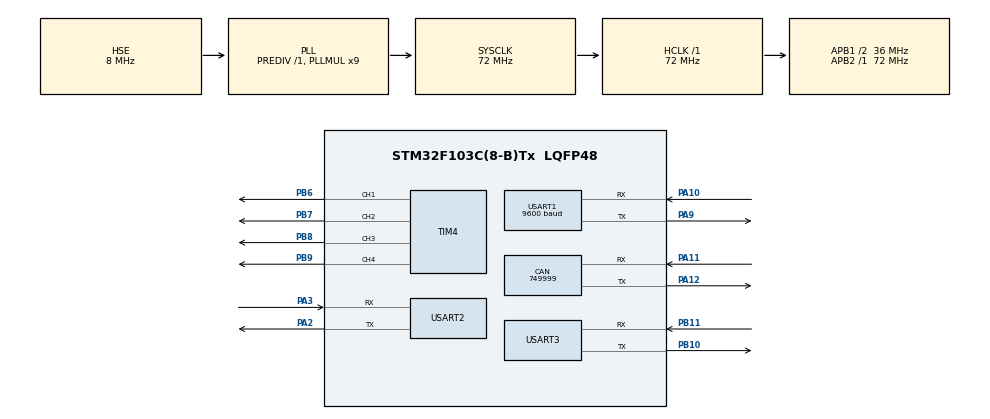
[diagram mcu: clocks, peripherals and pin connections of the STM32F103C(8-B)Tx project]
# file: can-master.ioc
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CAN.CalculateBaudRate=749999
CAN.CalculateTimeBit=1333
CAN.CalculateTimeQuantum=444.44444444444446
Dma.Request0=USART1_RX
Dma.USART1_RX.0.Direction=DMA_PERIPH_TO_MEMORY
Dma.USART1_RX.0.Instance=DMA1_Channel5
Dma.USART1_RX.0.MemDataAlignment=DMA_MDATAALIGN_BYTE
Dma.USART1_RX.0.MemInc=DMA_MINC_ENABLE
Dma.USART1_RX.0.Mode=DMA_CIRCULAR
Dma.USART1_RX.0.PeriphDataAlignment=DMA_PDATAALIGN_BYTE
Dma.USART1_RX.0.PeriphInc=DMA_PINC_DISABLE
Dma.USART1_RX.0.Priority=DMA_PRIORITY_LOW
Mcu.Family=STM32F1
Mcu.Name=STM32F103C(8-B)Tx
Mcu.Package=LQFP48
NVIC.CAN1_RX1_IRQn=true\:0\:0\:false\:false\:true\:true\:true\:true
NVIC.DMA1_Channel5_IRQn=true\:0\:0\:false\:false\:true\:false\:true\:true
NVIC.PriorityGroup=NVIC_PRIORITYGROUP_4
NVIC.TIM2_IRQn=true\:0\:0\:false\:false\:true\:true\:true\:true
NVIC.USART1_IRQn=true\:0\:0\:false\:false\:true\:true\:true\:true
PA10.Mode=Asynchronous
PA10.Signal=USART1_RX
PA11.Mode=CAN_Activate
PA11.Signal=CAN_RX
PA12.Mode=CAN_Activate
PA12.Signal=CAN_TX
PA13.Mode=Serial_Wire
PA13.Signal=SYS_JTMS-SWDIO
PA14.Mode=Serial_Wire
PA14.Signal=SYS_JTCK-SWCLK
PA2.Mode=Asynchronous
PA2.Signal=USART2_TX
PA3.Mode=Asynchronous
PA3.Signal=USART2_RX
PA9.Mode=Asynchronous
PA9.Signal=USART1_TX
PB10.Mode=Asynchronous
PB10.Signal=USART3_TX
PB11.Mode=Asynchronous
PB11.Signal=USART3_RX
PB6.Signal=S_TIM4_CH1
PB7.Signal=S_TIM4_CH2
PB8.Signal=S_TIM4_CH3
PB9.Signal=S_TIM4_CH4
PD0-OSC_IN.Mode=HSE-External-Oscillator
PD0-OSC_IN.Signal=RCC_OSC_IN
PD1-OSC_OUT.Mode=HSE-External-Oscillator
PD1-OSC_OUT.Signal=RCC_OSC_OUT
ProjectManager.HeapSize=0x200
ProjectManager.StackSize=0x400
ProjectManager.TargetToolchain=MDK-ARM V5.32
RCC.AHBFreq_Value=72000000
RCC.APB1CLKDivider=RCC_HCLK_DIV2
RCC.APB1Freq_Value=36000000
RCC.APB1TimFreq_Value=72000000
RCC.APB2Freq_Value=72000000
RCC.APB2TimFreq_Value=72000000
RCC.HCLKFreq_Value=72000000
RCC.PLLMUL=RCC_PLL_MUL9
RCC.PLLSourceVirtual=RCC_PLLSOURCE_HSE
RCC.SYSCLKFreq_VALUE=72000000
RCC.SYSCLKSource=RCC_SYSCLKSOURCE_PLLCLK
RCC.USBFreq_Value=72000000
SH.S_TIM4_CH1.0=TIM4_CH1,PWM Generation1 CH1
SH.S_TIM4_CH2.0=TIM4_CH2,PWM Generation2 CH2
SH.S_TIM4_CH3.0=TIM4_CH3,PWM Generation3 CH3
SH.S_TIM4_CH4.0=TIM4_CH4,PWM Generation4 CH4
TIM2.Period=500-1
TIM2.Prescaler=7200-1
TIM4.Channel-PWM\ Generation1\ CH1=TIM_CHANNEL_1
TIM4.Channel-PWM\ Generation2\ CH2=TIM_CHANNEL_2
TIM4.Channel-PWM\ Generation3\ CH3=TIM_CHANNEL_3
TIM4.Channel-PWM\ Generation4\ CH4=TIM_CHANNEL_4
USART1.BaudRate=9600
USART1.VirtualMode=VM_ASYNC
USART2.VirtualMode=VM_ASYNC
USART3.VirtualMode=VM_ASYNC
VP_TIM2_VS_ClockSourceINT.Mode=Internal
board=custom

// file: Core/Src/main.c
/* USER CODE BEGIN Header */
/**
  ******************************************************************************
  * @file           : main.c
  * @brief          : Main program body
  ******************************************************************************
  * @attention
  *
  * Copyright (c) 2024 STMicroelectronics.
  * All rights reserved.
  *
  * This software is licensed under terms that can be found in the LICENSE file
  * in the root directory of this software component.
  * If no LICENSE file comes with this software, it is provided AS-IS.
  *
  ******************************************************************************
  */
/* USER CODE END Header */
#include "main.h"
#include "can.h"
#include "dma.h"
#include "tim.h"
#include "usart.h"
#include "gpio.h"

/* USER CODE BEGIN Includes */
#include "valuepack.h"
/* USER CODE END Includes */

/* USER CODE BEGIN PM */

// Define message IDs
#define CAN_ID_SPEED_A 0x101   // ID for sending speed to Device A
#define CAN_ID_SPEED_B 0x102   // ID for sending speed to Device B
#define CAN_ID_RPM_A   0x201   // ID for receiving RPM from Device A
#define CAN_ID_RPM_B   0x202   // ID for receiving RPM from Device B

/* USER CODE END PM */

/* USER CODE BEGIN PV */

extern unsigned char vp_rxbuff[VALUEPACK_BUFFER_SIZE];
RxPack rx_pack_ptr;

CAN_TxHeaderTypeDef TxHeader;
CAN_RxHeaderTypeDef RxHeader;
uint8_t TxData[4];
uint8_t RxData[4];
uint32_t TxMailbox;

int16_t rpm_A_1;
int16_t rpm_A_2;
int16_t rpm_B_1;
int16_t rpm_B_2;

/* USER CODE END PV */

void SystemClock_Config(void);

/* USER CODE BEGIN 0 */

// Function to send speed data
void send_speed(int16_t speed1, int16_t speed2, uint32_t can_id) {
    TxHeader.StdId = can_id; // Set CAN ID based on target device
    TxHeader.DLC = 4;        // Data length code, 4 bytes
    TxData[0] = speed1 & 0xFF;
    TxData[1] = (speed1 >> 8) & 0xFF;
    TxData[2] = speed2 & 0xFF;
    TxData[3] = (speed2 >> 8) & 0xFF;
    HAL_CAN_AddTxMessage(&hcan, &TxHeader, TxData, &TxMailbox); // Transmit the message
}

// Function to receive RPM data
void receive_rpm(void) {
    if (HAL_CAN_GetRxFifoFillLevel(&hcan, CAN_RX_FIFO0) != 0) { // Check if FIFO has messages
        HAL_CAN_GetRxMessage(&hcan, CAN_RX_FIFO0, &RxHeader, RxData); // Retrieve the message
        if (RxHeader.StdId == CAN_ID_RPM_A) {
            // Decode RPM data from Device A
            int16_t rpm_A_1 = (RxData[1] << 8) | RxData[0];
            int16_t rpm_A_2 = (RxData[3] << 8) | RxData[2];
            // Process RPM data from Device A
        } else if (RxHeader.StdId == CAN_ID_RPM_B) {
            // Decode RPM data from Device B
            int16_t rpm_B_1 = (RxData[1] << 8) | RxData[0];
            int16_t rpm_B_2 = (RxData[3] << 8) | RxData[2];
            // Process RPM data from Device B
        }
    }
}

void HAL_UART_RxCpltCallback(UART_HandleTypeDef *huart) {
	if(huart==&huart1){
			//readValuePack(&rx_pack_ptr);
			//send_speed(rx_pack_ptr.shorts[0],rx_pack_ptr.shorts[1],CAN_ID_SPEED_A);
			//send_speed(rx_pack_ptr.shorts[2],rx_pack_ptr.shorts[3],CAN_ID_SPEED_B);

			//MoveMecanumWheels(rx_pack_ptr.shorts[0],rx_pack_ptr.shorts[1],rx_pack_ptr.shorts[2]);
			}
}

void HAL_TIM_PeriodElapsedCallback(TIM_HandleTypeDef *htim){
	if(htim==&htim2){
		//receive_rpm();
		readValuePack(&rx_pack_ptr);
			send_speed(rx_pack_ptr.shorts[0],rx_pack_ptr.shorts[1],CAN_ID_SPEED_A);
			send_speed(rx_pack_ptr.shorts[2],rx_pack_ptr.shorts[3],CAN_ID_SPEED_B);

			//readValuePack(&rx_pack_ptr);
			//MoveMecanumWheels(rx_pack_ptr.shorts[0],rx_pack_ptr.shorts[1],rx_pack_ptr.shorts[2]);
			//SetMecanumWheels(rx_pack_ptr.shorts[0],rx_pack_ptr.shorts[1],rx_pack_ptr.shorts[2],rx_pack_ptr.shorts[3]);
	}
}

/* USER CODE END 0 */

int main(void)
{

  /* MCU Configuration--------------------------------------------------------*/

  /* Reset of all peripherals, Initializes the Flash interface and the Systick. */
  HAL_Init();

  /* Configure the system clock */
  SystemClock_Config();

  /* Initialize all configured peripherals */
  MX_GPIO_Init();
  MX_DMA_Init();
  MX_CAN_Init();
  MX_TIM2_Init();
  MX_TIM4_Init();
  MX_USART1_UART_Init();
  MX_USART2_UART_Init();
  MX_USART3_UART_Init();
  /* USER CODE BEGIN 2 */

	HAL_TIM_Base_Start_IT(&htim2);

	HAL_UART_Receive_DMA(&huart1,vp_rxbuff,VALUEPACK_BUFFER_SIZE);

	HAL_CAN_Start(&hcan);

  /* USER CODE END 2 */

  /* Infinite loop */
  while (1)
  {

  }
}

void SystemClock_Config(void)
{
  RCC_OscInitTypeDef RCC_OscInitStruct = {0};
  RCC_ClkInitTypeDef RCC_ClkInitStruct = {0};

  /** Initializes the RCC Oscillators according to the specified parameters
  * in the RCC_OscInitTypeDef structure.
  */
  RCC_OscInitStruct.OscillatorType = RCC_OSCILLATORTYPE_HSE;
  RCC_OscInitStruct.HSEState = RCC_HSE_ON;
  RCC_OscInitStruct.HSEPredivValue = RCC_HSE_PREDIV_DIV1;
  RCC_OscInitStruct.HSIState = RCC_HSI_ON;
  RCC_OscInitStruct.PLL.PLLState = RCC_PLL_ON;
  RCC_OscInitStruct.PLL.PLLSource = RCC_PLLSOURCE_HSE;
  RCC_OscInitStruct.PLL.PLLMUL = RCC_PLL_MUL9;
  if (HAL_RCC_OscConfig(&RCC_OscInitStruct) != HAL_OK)
  {
    Error_Handler();
  }

  /** Initializes the CPU, AHB and APB buses clocks
  */
  RCC_ClkInitStruct.ClockType = RCC_CLOCKTYPE_HCLK|RCC_CLOCKTYPE_SYSCLK
                              |RCC_CLOCKTYPE_PCLK1|RCC_CLOCKTYPE_PCLK2;
  RCC_ClkInitStruct.SYSCLKSource = RCC_SYSCLKSOURCE_PLLCLK;
  RCC_ClkInitStruct.AHBCLKDivider = RCC_SYSCLK_DIV1;
  RCC_ClkInitStruct.APB1CLKDivider = RCC_HCLK_DIV2;
  RCC_ClkInitStruct.APB2CLKDivider = RCC_HCLK_DIV1;

  if (HAL_RCC_ClockConfig(&RCC_ClkInitStruct, FLASH_LATENCY_2) != HAL_OK)
  {
    Error_Handler();
  }
}

void Error_Handler(void)
{
  __disable_irq();
  while (1)
  {
  }
}
